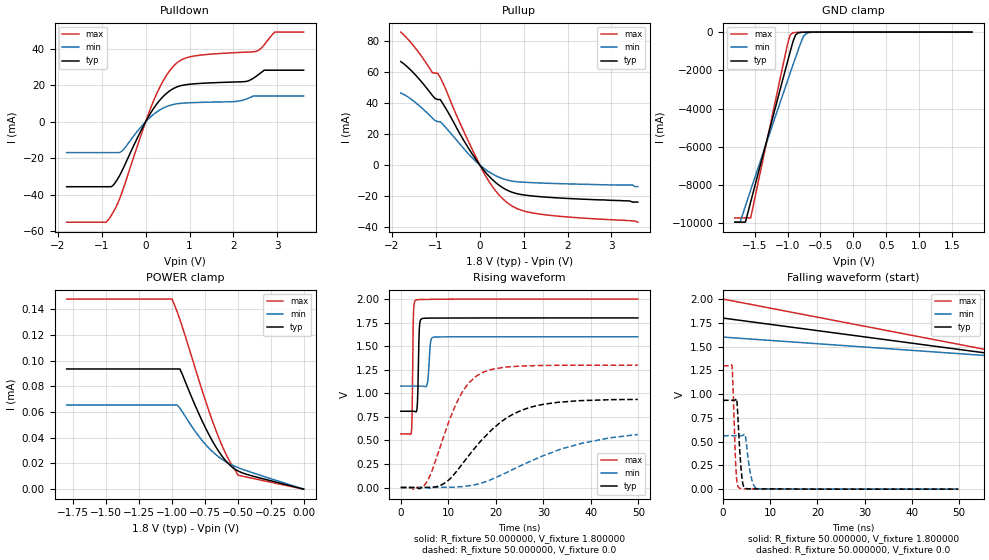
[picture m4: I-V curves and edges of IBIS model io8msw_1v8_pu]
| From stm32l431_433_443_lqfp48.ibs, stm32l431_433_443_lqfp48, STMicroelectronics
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|   Model io8msw_1v8_pu
[Model]  io8msw_1v8_pu
Model_type I/O
Polarity   Non-Inverting
Enable   Active-Low
Vinl =   0.540000V
Vinh =   1.260000V
Vmeas =  0.900000V
Cref =   100.000000nF
Rref =   1.000000k
Vref =   1.800000V
C_comp   2.845500pF   2.787900pF   3.023700pF
[Temperature Range]   25.000000   0.125000k   -40.000000
[Pullup Reference]   1.800000V   1.600000V   2.000000V
[Pulldown Reference]   0.0V   0.0V   0.0V
[POWER Clamp Reference]   1.800000V   1.600000V   2.000000V
[GND Clamp Reference]   0.0V   0.0V   0.0V
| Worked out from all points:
|   slope of the pulldown table from 0 to 0.27 V, typ, clamps not added: 26.4 ohm
|   slope of the pullup table from 0 to 0.27 V, typ, clamps not added: 30.1 ohm
|   GND clamp passes 1 mA (typ) near -0.58 V on its own axis
|   rising waveform, R_fixture 50.000000, V_fixture 1.800000: 20-80 % time 263ps typ, 400ps min, 194ps max; typ from 0.81 V to 1.8 V
|   rising waveform, R_fixture 50.000000, V_fixture 0.0: 20-80 % time 10.6ns typ, 16.4ns min, 6.12ns max; typ from 0.001 V to 0.935 V
|   falling waveform, R_fixture 50.000000, V_fixture 1.800000: 20-80 % time 90.1ns typ, 90.1ns min, 90.1ns max; typ from 1.8 V to 0.81 V
|   falling waveform, R_fixture 50.000000, V_fixture 0.0: 20-80 % time 714ps typ, 1.03ns min, 552ps max; typ from 0.935 V to 0.001 V
[Pulldown]
|Voltage   I(typ)   I(min)   I(max)
-1.8V     -35.64mA   -16.93mA   -55.1mA
-840mV    -35.64mA   -16.93mA   -53.52mA
-720mV    -34.31mA   -16.93mA   -48.86mA
-540mV    -27.04mA   -16.13mA   -38.89mA
240mV     9.303mA    5.14mA     14.78mA
480mV     15.67mA    8.374mA    25.64mA
720mV     19.18mA    9.883mA    32.46mA
1.14V     20.87mA    10.54mA    36.19mA
2.28V     22.08mA    12.36mA    38.18mA
2.52V     24.96mA    14.17mA    38.63mA
2.94V     28.28mA    14.17mA    49.19mA
3.6V      28.28mA    14.17mA    49.19mA
[Pullup]
|Voltage   I(typ)   I(min)   I(max)
-1.8V     66.81mA    46.46mA    85.87mA
-1.44V    57.38mA    39.76mA    74.58mA
-1.08V    44.91mA    30.36mA    59.66mA
-960mV    42.26mA    27.97mA    59.3mA
-900mV    42.26mA    27.97mA    56.53mA
-300mV    12.81mA    8.47mA     17.72mA
60mV      -2.268mA   -1.401mA   -3.341mA
300mV     -9.801mA   -6.008mA   -14.46mA
600mV     -15.96mA   -9.582mA   -23.81mA
900mV     -18.89mA   -10.98mA   -28.81mA
1.32V     -20.37mA   -11.6mA    -31.56mA
3.6V      -24mA      -14mA      -37mA
[GND_clamp]
|Voltage   I(typ)   I(min)   I(max)
-1.8V     -9.93A     -9.932A    -9.707A
-1.72V    -9.93A     -9.932A    -9.707A
-1.64V    -9.93A     -9.083A    -9.707A
-1.56V    -8.876A    -8.251A    -9.707A
-1V       -1.54A     -2.541A    -631mA
-960mV    -1.028A    -2.139A    -153.7mA
-920mV    -527mA     -1.74A     -39.12mA
-880mV    -155.6mA   -1.344A    -18.01mA
-840mV    -45.32mA   -953mA     -12.68mA
-760mV    -8.418mA   -235mA     -7.62mA
-680mV    -3.44mA    -33.01mA   -3.865mA
1.8V      0A         0A         0A
[POWER_clamp]
|Voltage   I(typ)   I(min)   I(max)
-1.8V     93.65uA    65.51uA    148.1uA
-1V       93.65uA    65.51uA    148.1uA
-960mV    93.65uA    65.51uA    138uA
-940mV    93.65uA    63.17uA    132.2uA
-800mV    59.69uA    41.72uA    86.4uA
-740mV    46.65uA    34.22uA    67.22uA
-680mV    35.2uA     28.09uA    49.56uA
-600mV    23.11uA    21.96uA    29.46uA
-560mV    18.7uA     19.66uA    21.37uA
-500mV    14.28uA    16.88uA    11.08uA
-400mV    10.58uA    13.18uA    8.679uA
0V        0A         0A         0A
[Ramp]
| variable   typ   min   max
dV/dt_r  0.56004/10.61673n   0.31393/16.51310n   0.77863/6.11429n
dV/dt_f  0.58852/9.85247n   0.28122/14.30675n   0.85846/5.41630n
R_load = 50.000000
[Rising Waveform]
R_fixture= 50.000000
V_fixture= 1.800000
V_fixture_min= 1.600000
V_fixture_max= 2.000000
|time   V(typ)   V(min)   V(max)
0s        809.8mV    1.076V     568.8mV
2.202ns   809.8mV    1.076V     576.4mV
2.402ns   809.8mV    1.076V     803.5mV
2.703ns   809.5mV    1.076V     1.883V
3.203ns   802.8mV    1.077V     1.99V
3.504ns   893.7mV    1.077V     1.994V
3.904ns   1.684V     1.077V     1.995V
4.404ns   1.791V     1.076V     1.995V
6.907ns   1.798V     1.595V     1.998V
49.85ns   1.8V       1.6V       2V
[Rising Waveform]
R_fixture= 50.000000
V_fixture= 0.0
V_fixture_min= 0.0
V_fixture_max= 0.0
|time   V(typ)   V(min)   V(max)
0s        727.6uV    1.154mV    483.6uV
5.405ns   1.73mV     -2.696uV   53.01mV
8.809ns   34.43mV    2.472mV    508.5mV
12.01ns   189.9mV    7.055mV    925mV
14.51ns   353.2mV    20.72mV    1.119V
16.82ns   493.3mV    44.75mV    1.212V
22.12ns   733.8mV    156.5mV    1.278V
28.03ns   861.9mV    295.5mV    1.294V
38.14ns   922.8mV    470.7mV    1.298V
49.85ns   935.3mV    563.1mV    1.298V
[Falling Waveform]
R_fixture= 50.000000
V_fixture= 1.800000
V_fixture_min= 1.600000
V_fixture_max= 2.000000
|time   V(typ)   V(min)   V(max)
0s        1.8V       1.6V       2V
150.2ns   809.8mV    1.077V     568.8mV
300.3ns   809.8mV    1.076V     568.8mV
14.86us   809.8mV    1.076V     568.8mV
[Falling Waveform]
R_fixture= 50.000000
V_fixture= 0.0
V_fixture_min= 0.0
V_fixture_max= 0.0
|time   V(typ)   V(min)   V(max)
0s        935.3mV    563.1mV    1.298V
1.902ns   935.3mV    563.1mV    1.304V
2.803ns   953.5mV    563.1mV    158.4mV
3.003ns   888.5mV    563.1mV    57.98mV
3.504ns   442.3mV    562.8mV    10.69mV
4.304ns   37.09mV    568.9mV    4.806mV
4.705ns   10.15mV    567.4mV    4.456mV
6.106ns   3.367mV    101.3mV    4.209mV
7.207ns   3.164mV    6.746mV    3.942mV
49.85ns   727.6uV    1.154mV    483.6uV
